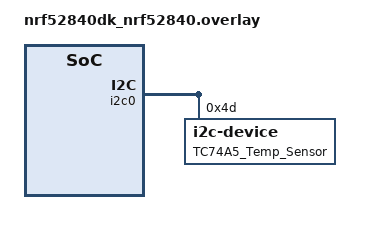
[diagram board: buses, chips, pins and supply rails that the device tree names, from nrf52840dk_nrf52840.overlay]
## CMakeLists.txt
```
# SPDX-License-Identifier: Apache-2.0

cmake_minimum_required(VERSION 3.20.0)

find_package(Zephyr REQUIRED HINTS $ENV{ZEPHYR_BASE})
project(hello_world)

target_sources(app PRIVATE src/main.c src/config_pins.c src/fifo.c src/i2c.c src/fifo_RTDB.c)
```

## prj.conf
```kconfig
CONFIG_HEAP_MEM_POOL_SIZE=4096
CONFIG_SERIAL=y
CONFIG_UART_ASYNC_API=y
CONFIG_I2C=y
CONFIG_TIMING_FUNCTIONS=y
CONFIG_MULTITHREADING=y
```

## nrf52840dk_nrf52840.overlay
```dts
// To get started, press Ctrl+Space to bring up the completion menu and view the available nodes.

// You can also use the buttons in the sidebar to perform actions on nodes.
// Actions currently available include:

// * Enabling / disabling the node
// * Adding the bus to a bus
// * Removing the node
// * Connecting ADC channels

// For more help, browse the DeviceTree documentation at https://docs.zephyrproject.org/latest/guides/dts/index.html
// You can also visit the nRF DeviceTree extension documentation at https://nrfconnect.github.io/vscode-nrf-connect/devicetree/nrfdevicetree.html





&i2c0 {
    temp_sensor: TC74A5@4d{  
        compatible = "i2c-device";
        reg = < 0x4d >; //1001 101b - slave address
        label = "TC74A5_Temp_Sensor";
    };
};
```

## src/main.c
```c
#include <zephyr/kernel.h>
#include <zephyr/device.h>
#include <zephyr/devicetree.h>
#include <zephyr/drivers/gpio.h>
#include <zephyr/sys/printk.h>
#include <drivers/uart.h>
#include <zephyr/timing/timing.h>

#include "config_pins.h"
#include "fifo.h"
#include "i2c.h"
#include "fifo_RTDB.h"

#include <zephyr/drivers/i2c.h>

#define MAIN_SLEEP_TIME_MS 2000
#define FATAL_ERR -1

#define UART_NODE DT_NODELABEL(uart0)

#define RXBUF_SIZE 60
#define TXBUF_SIZE 60
#define RX_TIMEOUT 100

K_MUTEX_DEFINE(mx);

const struct uart_config uart_cfg = {
    .baudrate = 115200,
    .parity = UART_CFG_PARITY_NONE,
    .stop_bits = UART_CFG_STOP_BITS_1,
    .data_bits = UART_CFG_DATA_BITS_8,
    .flow_ctrl = UART_CFG_FLOW_CTRL_NONE
};

const struct device *uart_dev;
static uint8_t rx_buf[RXBUF_SIZE];
static uint8_t rx_chars[RXBUF_SIZE];
volatile int uart_rxbuf_nchar = 0;

static void uart_cb(const struct device *dev, struct uart_event *evt, void *user_data);

void init_uart() {
    int err = 0;

    uart_dev = device_get_binding(DT_LABEL(UART_NODE));
    if (uart_dev == NULL) {
        printk("device_get_binding() error for device %s!\n\r", DT_LABEL(UART_NODE));
        return;
    } else {
        printk("UART binding successful\n\r");
    }

    err = uart_configure(uart_dev, &uart_cfg);
    if (err == -ENOSYS) {
        printk("uart_configure() error. Invalid configuration\n\r");
        return;
    }

    err = uart_callback_set(uart_dev, uart_cb, NULL);
    if (err) {
        printk("uart_callback_set() error. Error code:%d\n\r", err);
        return;
    }

    err = uart_rx_enable(uart_dev, rx_buf, sizeof(rx_buf), RX_TIMEOUT);
    if (err) {
        printk("uart_rx_enable() error. Error code:%d\n\r", err);
        return;
    }
}

#define STACK_SIZE 1024

#define thread_A_prio 1
#define thread_B_prio 1
#define thread_C_prio 1
#define thread_D_prio 1
#define thread_E_prio 1

#define thread_A_period 250
#define thread_B_period 2000
#define thread_C_period 3000
#define thread_D_period 3000
#define thread_E_period 500

K_THREAD_STACK_DEFINE(thread_A_stack, STACK_SIZE);
K_THREAD_STACK_DEFINE(thread_B_stack, STACK_SIZE);
K_THREAD_STACK_DEFINE(thread_C_stack, STACK_SIZE);
K_THREAD_STACK_DEFINE(thread_D_stack, STACK_SIZE);
K_THREAD_STACK_DEFINE(thread_E_stack, STACK_SIZE);

struct k_thread thread_A_data;
struct k_thread thread_B_data;
struct k_thread thread_C_data;
struct k_thread thread_D_data;
struct k_thread thread_E_data;

k_tid_t thread_A_tid;
k_tid_t thread_B_tid;
k_tid_t thread_C_tid;
k_tid_t thread_D_tid;
k_tid_t thread_E_tid;

queue q1;

RTDB RT= {
    //value ={0} ;/**< array de carateres armazenado no nodo */
    //state_led[4]={0};
    //tate_botao[4]={0};
    //temp_i2c = 0;
};

// Thread A, comandos leitura comandos da uart
void thread_A_code(void *arg1, void *arg2, void *arg3) {
    int64_t fin_time = 0, release_time = 0;
    timing_t start_time, end_time;

    printk("Thread A init (periodic)\n");

    release_time = k_uptime_get() + thread_A_period;

    while (1) {
        start_time = timing_counter_get();
        if (uart_rxbuf_nchar > 0) {
            rx_chars[uart_rxbuf_nchar] = 0;
            uart_rxbuf_nchar = 0;
            MyFifoInsert(&q1, rx_chars, 1);
        }
        char * RT_arr = getRTDB_chars(&RT);
        
        if (MyFifoPeep(&q1) != NULL) {
            strcat(&RT_arr,MyFifoPeep(&q1));
            setRTDB_chars(&RT,RT_arr);
            
            printk("O valor lido do teclado e: %s \n",MyFifoPeep(&q1));
            // colocar os comandos na RTBD
            MyFifoRemove(&q1);
        }

        fin_time = k_uptime_get();
        if (fin_time < release_time) {
            k_msleep(release_time - fin_time);
            release_time += thread_A_period;
        }
    }

    timing_stop();
}

// thread que lê os valores do sensor de temperatura e atualiza a RTBD
void thread_B_code(void *arg1, void *arg2, void *arg3) {
    int64_t fin_time = 0, release_time = 0;
    timing_t start_time, end_time;

    printk("Thread B init (periodic)\n");

    release_time = k_uptime_get() + thread_B_period;

    while (1) {
        start_time = timing_counter_get();
        int t = get_temp();
        // dar lock aqui
        k_mutex_lock(&mx,K_FOREVER);
        setRTDB_temp(&RT,t);
        printk("Temp= %d\n",getRTDB_temp(&RT));
        // unlock aqui
        k_mutex_unlock(&mx);
        fin_time = k_uptime_get();
        if (fin_time < release_time) {
            k_msleep(release_time - fin_time);
            release_time += thread_B_period;
        }
    }

    timing_stop();
    }

// thread que lê os valores dos botõers e atualiza a RTBD
void thread_C_code(void *arg1, void *arg2, void *arg3) {
    int button1,button2,button3,button4;
    int button_val[4];
     int64_t fin_time = 0, release_time = 0;
    timing_t start_time, end_time;

    printk("Thread C init (periodic)\n");

    release_time = k_uptime_get() + thread_C_period;

    while (1) {
        start_time = timing_counter_get();
        button1 = gpio_pin_get(gpio0_dev,11); 
        button2 = gpio_pin_get(gpio0_dev,12); 
        button3 = gpio_pin_get(gpio0_dev,24); 
        button4 = gpio_pin_get(gpio0_dev,25); 

        button_val[0] = button1;
        button_val[1] = button2;
        button_val[2] = button3;
        button_val[3] = button4;

        // dar lock aqui
        k_mutex_lock(&mx,K_FOREVER);
        setRTDB_state_botao(&RT,button_val);
        // unlock aqui
        k_mutex_unlock(&mx);
        printk("button1: %d, button2: %d, button3: %d, button4: %d \r\n",button1,button2,button3,button4);

        fin_time = k_uptime_get();
        if (fin_time < release_time) {
            k_msleep(release_time - fin_time);
            release_time += thread_B_period;
        }
    }

    timing_stop();

}

// thread que lê o array da RTBD e atualiza o valor dos leds
void thread_D_code(void *arg1, void *arg2, void *arg3) {
     int64_t fin_time = 0, release_time = 0;
    timing_t start_time, end_time;

    printk("Thread C init (periodic)\n");

    release_time = k_uptime_get() + thread_C_period;

    while (1) {
        start_time = timing_counter_get();

        // lock 
        k_mutex_lock(&mx,K_FOREVER);
        
        int led_vals[4]={0,1,1,1};
         //led_vals =  *getRTDB_state_led(&RT);
         setRTDB_state_led(&RT,led_vals);
         int *dummy = getRTDB_state_led(&RT);
         
         //memcpy(&led_vals,&dummy,4);
         k_mutex_unlock(&mx);
        // unlock aqui
        gpio_pin_set(gpio0_dev, 13,dummy[0]);
        gpio_pin_set(gpio0_dev, 14,dummy[1]);
        gpio_pin_set(gpio0_dev, 15,dummy[2]);
        gpio_pin_set(gpio0_dev, 16,dummy[3]);
        printk("led_states = %d %d %d %d\n\r",dummy[0],dummy[1],dummy[2],dummy[3]);
        

        fin_time = k_uptime_get();
        if (fin_time < release_time) {
            k_msleep(release_time - fin_time);
            release_time += thread_B_period;
        }
    }

    timing_stop();

}


// esta thread concatena os carateres do fifo e coloca-os sem processamento no RTBD
void thread_E_code(void *arg1, void *arg2, void *arg3) {
    int64_t fin_time = 0, release_time = 0;
    timing_t start_time, end_time;

    printk("Thread A init (periodic)\n");

    /* release_time = k_uptime_get() + thread_E_period;
    node *tmp_curr = q1->head;
     */

    while (1) {
        start_time = timing_counter_get();
        
        /*char * RT_arr = getRTDB_chars(&RT);
        printk("rtdb: %s\n",RT_arr);
        node *curr = q1.head;

        while (curr != NULL){
            strcat(&RT_arr,&curr->value);
            curr = curr->next;
            MyFifoRemove(&q1);
        }
        printk("%s\n",RT_arr);*/
        fin_time = k_uptime_get();
        if (fin_time < release_time) {
            k_msleep(release_time - fin_time);
            release_time += thread_E_period;
        }
    }

    timing_stop();
}

// outra thread processa os comandos dentro da RTBD
// adcionar os locks e os unlocks

void main(void) {
    config_pins();
    init_uart();
    MyFifoInit(&q1, QUEUE_MAX_SIZE);

    thread_A_tid = k_thread_create(&thread_A_data, thread_A_stack, STACK_SIZE,
                                   thread_A_code, NULL, NULL, NULL,
                                   thread_A_prio, 0, K_NO_WAIT);

    thread_B_tid = k_thread_create(&thread_B_data, thread_B_stack, STACK_SIZE,
                                   thread_B_code, NULL, NULL, NULL,
                                   thread_B_prio, 0, K_NO_WAIT);

    thread_C_tid = k_thread_create(&thread_C_data, thread_C_stack, STACK_SIZE,
                                   thread_C_code, NULL, NULL, NULL,
                                   thread_C_prio, 0, K_NO_WAIT);
    thread_D_tid = k_thread_create(&thread_D_data, thread_D_stack, STACK_SIZE,
                                   thread_D_code, NULL, NULL, NULL,
                                   thread_D_prio, 0, K_NO_WAIT);
    /*thread_E_tid = k_thread_create(&thread_E_data, thread_E_stack, STACK_SIZE,
                                   thread_E_code, NULL, NULL, NULL,
                                   thread_D_prio, 0, K_NO_WAIT);*/
}



static void uart_cb(const struct device *dev, struct uart_event *evt, void *user_data)
{
    int err;

    switch (evt->type) {
	
        case UART_TX_DONE:
		    printk("UART_TX_DONE event \n\r");
            break;

    	case UART_TX_ABORTED:
	    	printk("UART_TX_ABORTED event \n\r");
		    break;
		
	    case UART_RX_RDY:
		    //printk("UART_RX_RDY event \n\r");
            /* Just copy data to a buffer. Usually it is preferable to use e.g. a FIFO to communicate with a task that shall process the messages*/
            //MyFifoInsert(&q1,rx_buf[evt->data.rx.offset],1);
            memcpy(&rx_chars[uart_rxbuf_nchar],&(rx_buf[evt->data.rx.offset]),evt->data.rx.len);
            uart_rxbuf_nchar++;           
		    break;

	    case UART_RX_BUF_REQUEST:
		    printk("UART_RX_BUF_REQUEST event \n\r");
		    break;

	    case UART_RX_BUF_RELEASED:
		    printk("UART_RX_BUF_RELEASED event \n\r");
		    break;
		
	    case UART_RX_DISABLED: 
            /* When the RX_BUFF becomes full RX is is disabled automaticaly.  */
            /* It must be re-enabled manually for continuous reception */
            printk("UART_RX_DISABLED event \n\r");
		    err =  uart_rx_enable(uart_dev ,rx_buf,sizeof(rx_buf),RX_TIMEOUT);
            if (err) {
                printk("uart_rx_enable() error. Error code:%d\n\r",err);
                exit(FATAL_ERR);                
            }
		    break;

	    case UART_RX_STOPPED:
		    printk("UART_RX_STOPPED event \n\r");
		    break;
		
	    default:
            printk("UART: unknown event \n\r");
		    break;
    }

}
```

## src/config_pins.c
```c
#include <zephyr/kernel.h>
#include <zephyr/device.h>
#include <zephyr/devicetree.h>
#include <zephyr/drivers/gpio.h>
#include <zephyr/sys/printk.h>

#include "config_pins.h"

/* #define GPIO0_NODE DT_NODELABEL(gpio0)
static const struct device *gpio0_dev = DEVICE_DT_GET(GPIO0_NODE); */

const uint8_t buttons_pins[] = {11, 12, 24, 25};
const uint8_t led_pins[] = {13, 14, 15, 16};

int config_pins() {
    int ret, i;

    printk("Digital IO accessing IO pins configuration startup\n\r");

    if (!device_is_ready(gpio0_dev)) {
        printk("Error: gpio0 device is not ready\n");
        return -1;
    } else {
        printk("Success: gpio0 device is ready\n");
    }

    for (i = 0; i < sizeof(led_pins); i++) {
        ret = gpio_pin_configure(gpio0_dev, led_pins[i], GPIO_OUTPUT_HIGH);
        if (ret < 0) {
            printk("Error: gpio_pin_configure failed for led %d/pin %d, error:%d\n\r", i + 1, led_pins[i], ret);
            return -1;
        } else {
            printk("Success: gpio_pin_configure for led %d/pin %d\n\r", i + 1, led_pins[i]);
        }
    }

    for (i = 0; i < sizeof(buttons_pins); i++) {
        ret = gpio_pin_configure(gpio0_dev, buttons_pins[i], GPIO_INPUT | GPIO_PULL_UP);
        if (ret < 0) {
            printk("Error: gpio_pin_configure failed for button %d/pin %d, error:%d\n\r", i + 1, buttons_pins[i], ret);
            return -1;
        } else {
            printk("Success: gpio_pin_configure for button %d/pin %d\n\r", i + 1, buttons_pins[i]);
        }
    }

    printk("All devices initialized successfully!\n\r");

    return 0;
}
```

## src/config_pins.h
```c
#include <zephyr/kernel.h>          /* for k_msleep() */
#include <zephyr/device.h>          /* for device_is_ready() and device structure */
#include <zephyr/devicetree.h>      /* for DT_NODELABEL() */
#include <zephyr/drivers/gpio.h>    /* for GPIO api*/
#include <zephyr/sys/printk.h>      /* for printk()*/

#ifndef CONFIG_PINS_H
#define CONFIG_PINS_H

#include <stdint.h>
#define GPIO0_NODE DT_NODELABEL(gpio0)
static const struct device *gpio0_dev = DEVICE_DT_GET(GPIO0_NODE);


extern const uint8_t buttons_pins[];
extern const uint8_t led_pins[];

int config_pins();

#endif
```

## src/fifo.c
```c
#include <zephyr/kernel.h>
#include <zephyr/device.h>
#include <zephyr/devicetree.h>
#include <zephyr/drivers/gpio.h>
#include <zephyr/sys/printk.h>

/**

@file fifo.c
@brief Ficheiro fifo.c para as definições das funções


 @author José Paredes Manuel Miranda
 @date 12 March 2023


*/


#include "fifo.h"

void MyFifoInit(queue *q, int maxsize){
    q->head = NULL;
    q->tail = NULL;
    q->size = 0;
    
}

int MyFifoSize(queue *q){
    return q->size;
}

int MyFifoInsert(queue *q, char* value, int priority) {
    // Cria um novo nodo
    node *newnode = k_malloc(sizeof(node));
    if (newnode == NULL) {
        fprintf(stderr, "O malloc falhou\n");
        return MALLOC_FAILED; // malloc falhou
    }
    else {
        if (q->size == QUEUE_MAX_SIZE) {
            fprintf(stderr, "O Fifo está cheio\n");
            return QUEUE_FULL;
        }
        q->size += 1;
        strcpy(newnode->value, value);
        newnode->priority = priority;
        newnode->next = NULL;
        // Se já existir um tail, conectar essa tail à nova
        if (q->tail != NULL) {
            q->tail->next = newnode;
        }
        q->tail = newnode;
        // Assegurar que o head faz sentido
        if (q->head == NULL) {
            q->head = newnode;
        }
        return 0;
    }
}

int MyFifoCheckPriority(queue *q){
    int max_prior = -1;
    node *tmp_curr = q->head;
    int idx = -1;
    for (int i = 0; i < q->size; i++)
    {
        if(tmp_curr->priority > max_prior){
            max_prior = tmp_curr->priority;
            idx = i; 
        }
        tmp_curr = tmp_curr->next;
    }
    return idx;
}

int MyFifoRemove(queue *q){
    // Verificar se o fifo está vazio
    
    if(q->head == NULL) {
        return QUEUE_EMPTY; // fifo vazio*
    }
    node *tmp_curr = q->head;
    node *tmp = NULL;
    
    int idx = MyFifoCheckPriority(q);
    
    /* condição de o elemento de maior
    prioridade ser o primeiro */
    if (idx == 0) {
        q->head = q->head->next;
        if (q->head == NULL) {
            q->tail = NULL;
        }
        q->size = q->size - 1;
        k_free(tmp_curr);
    } else {
        for (int i = 0; i < idx; i++)
        {
            tmp = tmp_curr;
            tmp_curr = tmp_curr->next;
        }
        tmp->next = tmp_curr->next;
        q->size = q->size - 1;

        /* condição de o elemento de maior
        prioridade ser o ultimo */ 
        if (tmp_curr == q->tail) {
            q->tail = tmp;
        }
        k_free(tmp_curr);
    }
    return 0;
}


void printMyFifo(queue *q){
    node *tmp2 = q->head;
    if(tmp2 == NULL){
        printf("O fifo esta vazio \n");
    }
    else{

        for (int i = 0; i < q->size; i++)
        {
            //printf("%s -prioridade = %s\n",tmp2->value,tmp2->priority);
            tmp2 = tmp2->next;

        }
    }
}

char* MyFifoPeep(queue *q){
    if(MyFifoSize(q) == 0){
        //return QUEUE_EMPTY;
        return NULL;   //dummy
    }
    else {
        return q->head->value; //retorna o elemento mais antigo
    }
}
```

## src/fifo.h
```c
#include <zephyr/kernel.h>          /* for k_msleep() */
#include <zephyr/device.h>          /* for device_is_ready() and device structure */
#include <zephyr/devicetree.h>      /* for DT_NODELABEL() */
#include <zephyr/drivers/gpio.h>    /* for GPIO api*/
#include <zephyr/sys/printk.h>      /* for printk()*/

#ifndef FIFO_H
#define FIFO_H

#define MALLOC_FAILED -3
#define QUEUE_EMPTY -2
#define QUEUE_FULL -1
#define QUEUE_MAX_SIZE 5

#include <stdint.h>
#include <stdlib.h>
#include <stdio.h>
#include <string.h>

/**

@brief Nodo do fifo
@details O Nodo representa a informação de um elemento do fifo
*/
typedef struct node{
char value[8]; /**< array de carateres armazenado no nodo */
int priority; /**< Valor da prioridade do elemento */
struct node *next; /**< Ponteiro para o próximo nodo */
} node;

/**
@brief Fila
@details A Fila é a estrutura a partir do qual acedemos à lista ligada.
*/
typedef struct{
node *head; /**< Ponteiro para o primeiro nodo da fila */
node *tail; /**< Ponteiro para o último nodo */
int size; /**< Tamanho atual do fifo */

} queue;

/**

@brief Inicialização da fila
@param q Ponteiro para a fila
@param maxsize Tamanho máximo do fifo
*/
void MyFifoInit(queue *q, int maxsize);

/**

@brief Insere um valor na fila
@param q Ponteiro para a fila
@param value Valor a ser inserido
@param priority Indicaçao da prioridade do elemento a adicionar
@return 0 em caso de sucesso, QUEUE_FULL se a fila estiver cheia, MALLOC_FAILED se houver falha na alocação de memória
*/
int MyFifoInsert(queue *q, char* value,int priority);

/**

@brief Remove o valor mais antigo da fila
@param q Ponteiro para a fila
@return 0 em caso de sucesso, QUEUE_EMPTY se a fila estiver vazia
*/
int MyFifoRemove(queue *q);
/**
@brief Retorna o indice do elemento com maior prioridade
@param q Ponteiro para a fila
@return indice do elemento com maior prioridade
*/
int MyFifoCheckPriority(queue *q);

/**

@brief Imprime todos os valores da fila
@param q Ponteiro para a fila
*/
void printMyFifo(queue *q);
/**

@brief Retorna o valor mais antigo da fila sem removê-lo
@param q Ponteiro para a fila
@return Valor mais antigo em caso de sucesso, QUEUE_EMPTY se a fila estiver vazia
*/
char* MyFifoPeep(queue *q);

#endif
```

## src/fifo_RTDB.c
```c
#include <zephyr/kernel.h>
#include <zephyr/device.h>
#include <zephyr/devicetree.h>
#include <zephyr/drivers/gpio.h>
#include <zephyr/sys/printk.h>
#include "fifo_RTDB.h"

/**

@file fifo.c
@brief Ficheiro fifo.c para as definições das funções


 @author José Paredes Manuel Miranda
 @date 12 March 2023

**/

char* getRTDB_chars(RTDB *rtdb){
    return rtdb->value;
}

int* getRTDB_state_led(RTDB *_RTDB){
    return _RTDB->state_led;
}

int* getRTDB_state_botao(RTDB *_RTDB){
    return _RTDB->state_botao;
}

int getRTDB_temp(RTDB *_RTDB){
    return _RTDB->temp_i2c;
}

int setRTDB_chars(RTDB *_RTDB, char* new_chars){
    memcpy(&_RTDB->value,&new_chars,sizeof(new_chars));
    return 0;
}

 int setRTDB_state_led(RTDB *_RTDB, int* new_states){
    for (int i = 0 ; i < 4; i++){
        _RTDB->state_led[i]=new_states[i];
    }
    //memcpy(&_RTDB->state_led,&new_states,sizeof(new_states));
    return 0;
}

int setRTDB_state_botao(RTDB *_RTDB, int *new_state_botoes){
    memcpy(&_RTDB->state_botao,&new_state_botoes,sizeof(new_state_botoes));
        return 0;
}

int setRTDB_temp(RTDB *_RTDB, int new_temp){
    _RTDB->temp_i2c = new_temp;
        return 0;
} 
```

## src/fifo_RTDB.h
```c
#ifndef FIFO_RTDB_H
#define FIFO_RTDB_H


#include <zephyr/kernel.h>          /* for k_msleep() */
#include <zephyr/device.h>          /* for device_is_ready() and device structure */
#include <zephyr/devicetree.h>      /* for DT_NODELABEL() */
#include <zephyr/drivers/gpio.h>    /* for GPIO api*/
#include <zephyr/sys/printk.h>      /* for printk()*/



#include <stdint.h>
#include <stdlib.h>
#include <stdio.h>
#include <string.h>


typedef struct RTDB{
char value[64]; /**< array de carateres armazenado no nodo */
int state_led[4];
int state_botao[4];
int temp_i2c;
} RTDB;

char* getRTDB_chars(RTDB *R);

char* getRTDB_chars(RTDB *_RTDB);

int* getRTDB_state_led(RTDB *_RTDB);

int* getRTDB_state_botao(RTDB *_RTDB);

int getRTDB_temp(RTDB *_RTDB);

int setRTDB_chars(RTDB *_RTDB, char* new_chars);

int setRTDB_state_led(RTDB *_RTDB, int* new_states);

int setRTDB_state_botao(RTDB *_RTDB, int *new_state_botoes);

int setRTDB_temp(RTDB *_RTDB, int new_temp);



#endif
```

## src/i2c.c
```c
/*
 * Copyright (c) 2012-2014 Wind River Systems, Inc.
 *
 * SPDX-License-Identifier: Apache-2.0
 */

#include <zephyr.h>
#include <zephyr/drivers/i2c.h>
#include <zephyr/sys/printk.h>

#include "i2c.h"


int get_temp(){
		uint8_t ret;
		//printk("Hello World! %s\n", CONFIG_BOARD);
		if (!device_is_ready(dev_i2c.bus)) {
			printk("I2C bus %s is not ready!\n\r",dev_i2c.bus->name);
			return 0;
	}


		uint8_t config[2] = {READ_WRITE_CONFIGURATION_COMMAND,0*BIT(7)}; // Deveria selecionar o modo de operação
			ret = i2c_write_dt(&dev_i2c, config, sizeof(config));
			if(ret != 0){
				printk("Failed to write to I2C device address %x at Reg. %x \n", dev_i2c.addr,config[0]);
				return 0;
			}

		uint8_t data;
		uint8_t temp;

		uint8_t read_temp = READ_TEMP_COMMAND; // Deveria selecionar o modo de operação
			ret = i2c_write_dt(&dev_i2c, config, sizeof(config));
				if(ret != 0){
					printk("Failed to write to I2C device address %x at Reg. %x \n", dev_i2c.addr,config[0]);
					return 0;
				}
			ret = i2c_read_dt(&dev_i2c, &data, sizeof(data));
			if(ret != 0){
				printk("Failed to read from I2C device address %x at Reg. %x n", dev_i2c.addr,config[0]);
			}
			if(data == 64){
				ret = i2c_write_dt(&dev_i2c, read_temp, sizeof(read_temp));
				if(ret != 0){
					printk("Failed to write to I2C device address %x at Reg. %x \n", dev_i2c.addr,config[0]);
					return 0;
				}
			ret = i2c_read_dt(&dev_i2c, &temp, sizeof(temp));
			if(ret != 0){
				printk("Failed to read from I2C device address %x at Reg. %x n", dev_i2c.addr,config[0]);
			}
			
		}
		return temp;
		//printk("The data obtained is %u\r\n",data);
		//printk("The temperature obtained is %u\r\n",temp);
		//k_msleep(SLEEP_TIME_MS);

	}
```

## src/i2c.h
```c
#include <zephyr/kernel.h>          /* for k_msleep() */
#include <zephyr/device.h>          /* for device_is_ready() and device structure */
#include <zephyr/devicetree.h>      /* for DT_NODELABEL() */
#include <zephyr/drivers/gpio.h>    /* for GPIO api*/
#include <zephyr/sys/printk.h>      /* for printk()*/
#include <zephyr/drivers/i2c.h>

#ifndef I2C_H
#define I2C_H


#define I2C0_NODE DT_NODELABEL(temp_sensor)

static const struct i2c_dt_spec dev_i2c = I2C_DT_SPEC_GET(I2C0_NODE);

#define READ_TEMP_COMMAND                        0x00
#define READ_WRITE_CONFIGURATION_COMMAND         0x01

#define NORMAL_MODE                              0x00

#define SLEEP_TIME_MS                            100



int get_temp();



#endif
```

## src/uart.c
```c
/*
 * Paulo Pedreiras, 2022/09
 * 
 * Demo of the use of the UART driver.  
 *      There are several APIs. The demo is based on the asynchronous API, which is very flexible and covers most of the use cases.
 *      The demo configures the UART and echoes the user input. 
 *      Received characters are accumulated during a period set by MAIN_SLEEP_TIME_MS
 *      All UART events are echoed 
 * 
 * Info source:
 *      https://developer.nordicsemi.com/nRF_Connect_SDK/doc/latest/zephyr/reference/peripherals/uart.html?highlight=uart_configure#overview 
 *
 * prj.conf should be set as follows:
 *
 *      To enable UART
 *          CONFIG_SERIAL=y
 *          CONFIG_UART_ASYNC_API=y
 * 
 *
 */
/* Includes. Add according to the resources used  */
#include <zephyr/kernel.h>          /* for k_msleep() */
#include <zephyr/device.h>          /* for device_is_ready() and device structure */
#include <zephyr/devicetree.h>	    /* for DT_NODELABEL() */
#include <zephyr/drivers/uart.h>    /* for ADC API*/
#include <zephyr/sys/printk.h>      /* for printk()*/
#include <stdio.h>                  /* for sprintf() */
#include <stdlib.h>
#include <string.h>

#include "uart.h"

/* Struct for UART configuration (if using default values is not needed) */
const struct uart_config uart_cfg = {
		.baudrate = 115200,
		.parity = UART_CFG_PARITY_NONE,
		.stop_bits = UART_CFG_STOP_BITS_1,
		.data_bits = UART_CFG_DATA_BITS_8,
		.flow_ctrl = UART_CFG_FLOW_CTRL_NONE
};
gjyf;
/* Main function */
void main(void){
    
    /* Local vars */    
    int err=0; /* Generic error variable */
    uint8_t welcome_mesg[] = "UART demo: Type a few chars in a row and then pause for a little while ...\n\r"; 
    uint8_t rep_mesg[TXBUF_SIZE];

    /* Configure UART */
    err = uart_configure(uart_dev, &uart_cfg);
    if (err == -ENOSYS) { /* If invalid configuration */
        printk("uart_configure() error. Invalid configuration\n\r");
        return; 
    }
        
    /* Register callback */
    err = uart_callback_set(uart_dev, uart_cb, NULL);
    if (err) {
        printk("uart_callback_set() error. Error code:%d\n\r",err);
        return;
    }
		
    /* Enable data reception */
    err =  uart_rx_enable(uart_dev ,rx_buf,sizeof(rx_buf),RX_TIMEOUT);
    if (err) {
        printk("uart_rx_enable() error. Error code:%d\n\r",err);
        return;
    }

    /* Send a welcome message */ 
    /* Last arg is timeout. Only relevant if flow controll is used */
    err = uart_tx(uart_dev, welcome_mesg, sizeof(welcome_mesg), SYS_FOREVER_MS);
    if (err) {
        printk("uart_tx() error. Error code:%d\n\r",err);
        return;
    }
    
    /* Main loop */
    while(1) {
        k_msleep(MAIN_SLEEP_TIME_MS);
        
        /* Print string received so far. */
        /* Very basic implementation, just for showing the use of the API */
        /* E.g. it does not prevent race conditions with the callback!!!!*/

        // do this in a function
        if(uart_rxbuf_nchar > 0) {
            rx_chars[uart_rxbuf_nchar] = 0; /* Terminate the string */
            uart_rxbuf_nchar = 0;           /* Reset counter */

            sprintf(rep_mesg,"You typed [%s]\n\r",rx_chars);            
            
            err = uart_tx(uart_dev, rep_mesg, strlen(rep_mesg), SYS_FOREVER_MS);
            if (err) {
                printk("uart_tx() error. Error code:%d\n\r",err);
                return;
            }
        }
        //printk(".\n");
    }
 
}


/* UART callback implementation */
/* Note that callback functions are executed in the scope of interrupt handlers. */
/* They run asynchronously after hardware/software interrupts and have a higher priority than all threads */
/* Should be kept as short and simple as possible. Heavier processing should be deferred to a task with suitable priority*/
static void uart_cb(const struct device *dev, struct uart_event *evt, void *user_data)
{
    int err;

    switch (evt->type) {
	
        case UART_TX_DONE:
		    printk("UART_TX_DONE event \n\r");
            break;

    	case UART_TX_ABORTED:
	    	printk("UART_TX_ABORTED event \n\r");
		    break;
		
	    case UART_RX_RDY:
		    printk("UART_RX_RDY event \n\r");
            /* Just copy data to a buffer. Usually it is preferable to use e.g. a FIFO to communicate with a task that shall process the messages*/
            memcpy(&rx_chars[uart_rxbuf_nchar],&(rx_buf[evt->data.rx.offset]),evt->data.rx.len); 
            uart_rxbuf_nchar++;           
		    break;

	    case UART_RX_BUF_REQUEST:
		    printk("UART_RX_BUF_REQUEST event \n\r");
		    break;

	    case UART_RX_BUF_RELEASED:
		    printk("UART_RX_BUF_RELEASED event \n\r");
		    break;
		
	    case UART_RX_DISABLED: 
            /* When the RX_BUFF becomes full RX is is disabled automaticaly.  */
            /* It must be re-enabled manually for continuous reception */
            printk("UART_RX_DISABLED event \n\r");
		    err =  uart_rx_enable(uart_dev ,rx_buf,sizeof(rx_buf),RX_TIMEOUT);
            if (err) {
                printk("uart_rx_enable() error. Error code:%d\n\r",err);
                exit(FATAL_ERR);                
            }
		    break;

	    case UART_RX_STOPPED:
		    printk("UART_RX_STOPPED event \n\r");
		    break;
		
	    default:
            printk("UART: unknown event \n\r");
		    break;
    }

}
```

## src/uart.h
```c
#include <zephyr/kernel.h>          /* for k_msleep() */
#include <zephyr/device.h>          /* for device_is_ready() and device structure */
#include <zephyr/devicetree.h>	    /* for DT_NODELABEL() */
#include <zephyr/drivers/uart.h>    /* for ADC API*/
#include <zephyr/sys/printk.h>      /* for printk()*/
#include <stdio.h>                  /* for sprintf() */
#include <stdlib.h>
#include <string.h>

#define UART_NODE DT_NODELABEL(uart0)   /* UART0 node ID*/
#define MAIN_SLEEP_TIME_MS 1000 /* Time between main() activations */ 

#define FATAL_ERR -1 /* Fatal error return code, app terminates */

#define RXBUF_SIZE 60                   /* RX buffer size */
#define TXBUF_SIZE 60                   /* TX buffer size */
#define RX_TIMEOUT 1000                 /* Inactivity period after the instant when last char was received that triggers an rx event (in us) */

/* Struct for UART configuration (if using default values is not needed) */
const struct uart_config uart_cfg = {
		.baudrate = 115200,
		.parity = UART_CFG_PARITY_NONE,
		.stop_bits = UART_CFG_STOP_BITS_1,
		.data_bits = UART_CFG_DATA_BITS_8,
		.flow_ctrl = UART_CFG_FLOW_CTRL_NONE
};

/* UART related variables */
const struct device *uart_dev = DEVICE_DT_GET(UART_NODE);
static uint8_t rx_buf[RXBUF_SIZE];      /* RX buffer, to store received data */
static uint8_t rx_chars[RXBUF_SIZE];    /* chars actually received  */
volatile int uart_rxbuf_nchar=0;        /* Number of chars currrntly on the rx buffer */

/* UART callback function prototype */
static void uart_cb(const struct device *dev, struct uart_event *evt, void *user_data);
```
